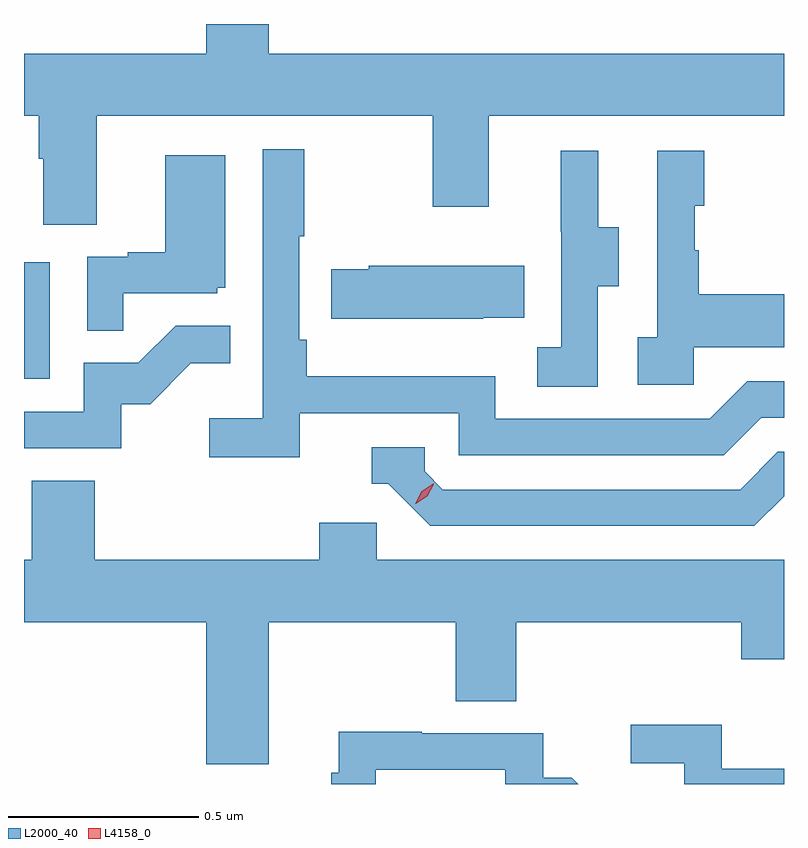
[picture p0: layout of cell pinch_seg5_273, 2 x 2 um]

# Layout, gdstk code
import gdstk
lib = gdstk.Library(unit=1e-6, precision=1e-09)
def R(c, l, rs):  # rectangles x0, y0, x1, y1
    for r in rs: c.add(gdstk.rectangle(r[:2], r[2:], *l))
def P(c, l, *ps):  # polygons
    for p in ps: c.add(gdstk.Polygon(p, *l))
L2000_40 = (2000, 40)
L4158_0 = (4158, 0)

pinch_seg5_273 = lib.new_cell('pinch_seg5_273')
R(pinch_seg5_273, L2000_40, [(919.772,901.356,919.84,901.663)])
P(pinch_seg5_273, L2000_40, [(919.963,902.048),(920.848,902.048),(920.848,901.809),(920.995,901.809),(920.995,902.048),(921.772,902.048),(921.772,902.212),(920.416,902.212),(920.416,902.29),(920.252,902.29),(920.252,902.212),(919.772,902.212),(919.772,902.048),(919.811,902.048),(919.811,901.936),(919.823,901.936),(919.823,901.762),(919.963,901.762)],
  [(920.498,901.266),(920.916,901.266),(920.916,901.155),(921.613,901.155),(921.712,901.254),(921.772,901.254),(921.772,901.35),(921.675,901.35),(921.576,901.251),(921.012,901.251),(921.012,901.363),(920.516,901.363),(920.516,901.459),(920.496,901.459),(920.496,901.732),(920.509,901.732),(920.509,901.96),(920.4,901.96),(920.4,901.252),(920.259,901.252),(920.259,901.15),(920.498,901.15)],
  [(921.282,901.6),(921.337,901.6),(921.337,901.755),(921.283,901.755),(921.283,901.957),(921.185,901.957),(921.185,901.743),(921.186,901.743),(921.186,901.439),(921.123,901.439),(921.123,901.336),(921.282,901.336)],
  [(921.534,901.439),(921.772,901.439),(921.772,901.579),(921.547,901.579),(921.547,901.694),(921.537,901.694),(921.537,901.812),(921.562,901.812),(921.562,901.957),(921.438,901.957),(921.438,901.466),(921.387,901.466),(921.387,901.341),(921.534,901.341)],
  [(920.033,901.581),(920.28,901.581),(920.28,901.596),(920.302,901.596),(920.302,901.945),(920.144,901.945),(920.144,901.69),(920.045,901.69),(920.045,901.677),(919.938,901.677),(919.938,901.483),(920.033,901.483)],
  [(920.981,901.517),(921.089,901.517),(921.089,901.654),(920.679,901.654),(920.679,901.644),(920.581,901.644),(920.581,901.514),(920.981,901.514)],
  [(920.028,901.29),(920.104,901.29),(920.211,901.397),(920.315,901.397),(920.315,901.496),(920.171,901.496),(920.073,901.398),(919.929,901.398),(919.929,901.269),(919.772,901.269),(919.772,901.173),(920.028,901.173)],
  [(921.772,901.047),(921.772,901.164),(921.756,901.164),(921.657,901.065),(920.874,901.065),(920.826,901.113),(920.826,901.176),(920.687,901.176),(920.687,901.08),(920.73,901.08),(920.841,900.969),(921.694,900.969)],
  [(920.416,900.716),(920.908,900.716),(920.908,900.508),(921.068,900.508),(921.068,900.716),(921.659,900.716),(921.659,900.618),(921.772,900.618),(921.772,900.88),(920.7,900.88),(920.7,900.978),(920.549,900.978),(920.549,900.88),(919.958,900.88),(919.958,901.088),(919.793,901.088),(919.793,900.88),(919.772,900.88),(919.772,900.716),(920.252,900.716),(920.252,900.342),(920.416,900.342)],
  [(921.772,900.33),(921.608,900.33),(921.608,900.446),(921.369,900.446),(921.369,900.344),(921.51,900.344),(921.51,900.29),(921.772,900.29)],
  [(920.697,900.327),(921.039,900.327),(921.039,900.29),(921.23,900.29),(921.214,900.306),(921.138,900.306),(921.138,900.423),(920.819,900.423),(920.819,900.428),(920.6,900.428),(920.6,900.32),(920.581,900.32),(920.581,900.29),(920.697,900.29)])
P(pinch_seg5_273, L4158_0, [(920.802,901.027),(920.802,901.028),(920.819,901.06),(920.849,901.08),(920.85,901.08),(920.85,901.079),(920.833,901.047),(920.803,901.027)])

lib.write_gds('pinch_seg5_273.gds')
